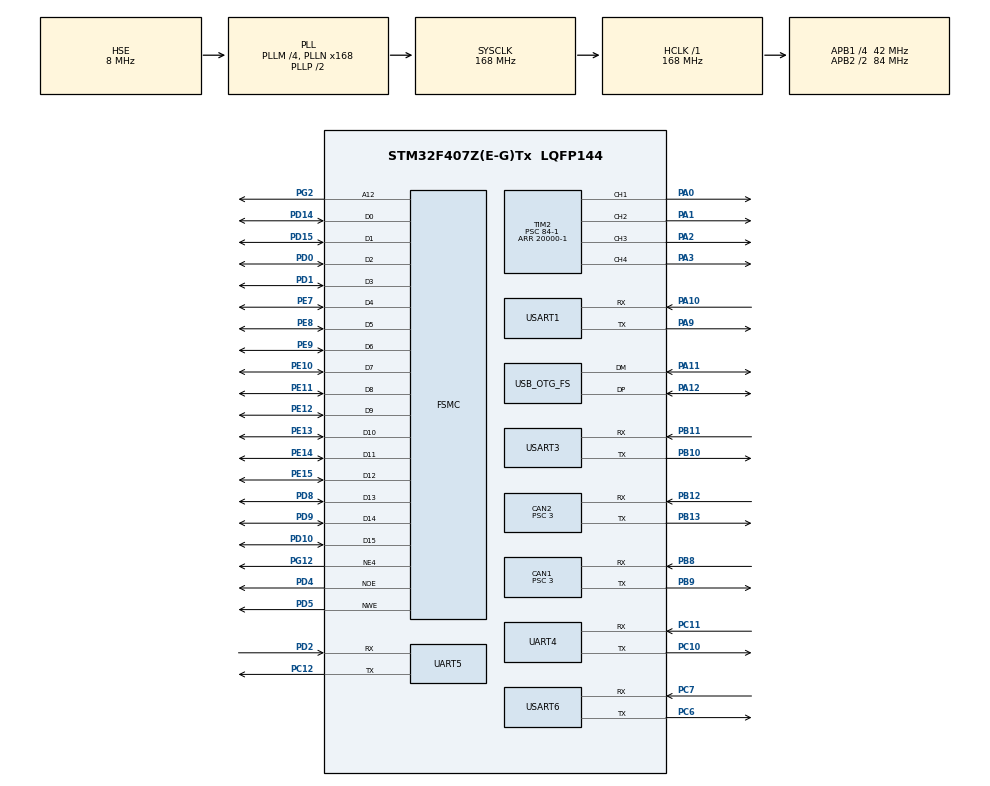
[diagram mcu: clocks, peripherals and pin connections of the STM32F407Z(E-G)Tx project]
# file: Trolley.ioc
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CAN1.BS1=CAN_BS1_11TQ
CAN1.BS2=CAN_BS2_2TQ
CAN1.CalculateBaudRate=1000000
CAN1.CalculateTimeBit=1000
CAN1.CalculateTimeQuantum=71.42857142857143
CAN1.Prescaler=3
CAN1.SJW=CAN_SJW_1TQ
CAN2.BS1=CAN_BS1_11TQ
CAN2.BS2=CAN_BS2_2TQ
CAN2.CalculateBaudRate=1000000
CAN2.CalculateTimeBit=1000
CAN2.CalculateTimeQuantum=71.42857142857143
CAN2.Prescaler=3
CAN2.SJW=CAN_SJW_1TQ
FREERTOS.Queues01=UartRxQueue,64,1,1,Dynamic,NULL,NULL
FREERTOS.Tasks01=defaultTask,24,128,StartDefaultTask,Default,NULL,Dynamic,NULL,NULL;HmiTask,8,512,StartHmiTask,Default,NULL,Dynamic,NULL,NULL;MotorTask,32,512,StartMotorTask,Default,NULL,Dynamic,NULL,NULL;UartTask,32,512,StartUartTask,Default,NULL,Dynamic,NULL,NULL
FREERTOS.configCHECK_FOR_STACK_OVERFLOW=2
FREERTOS.configUSE_MALLOC_FAILED_HOOK=1
FSMC.BusTurnAroundDuration4=0
FSMC.DataSetupTime4=60
FSMC.ExtendedAddressSetupTime4=9
FSMC.ExtendedBusTurnAroundDuration4=0
FSMC.ExtendedDataSetupTime4=8
FSMC.ExtendedMode4=FSMC_EXTENDED_MODE_ENABLE
Mcu.Family=STM32F4
Mcu.Name=STM32F407Z(E-G)Tx
Mcu.Package=LQFP144
NVIC.CAN1_RX0_IRQn=true\:5\:0\:false\:false\:true\:true\:true\:true\:true
NVIC.CAN1_SCE_IRQn=true\:5\:0\:false\:false\:true\:true\:true\:true\:true
NVIC.CAN1_TX_IRQn=true\:5\:0\:false\:false\:true\:true\:true\:true\:true
NVIC.CAN2_RX0_IRQn=true\:5\:0\:false\:false\:true\:true\:true\:true\:true
NVIC.CAN2_SCE_IRQn=true\:5\:0\:false\:false\:true\:true\:true\:true\:true
NVIC.CAN2_TX_IRQn=true\:5\:0\:false\:false\:true\:true\:true\:true\:true
NVIC.OTG_FS_IRQn=true\:5\:0\:false\:false\:true\:true\:false\:true\:true
NVIC.PriorityGroup=NVIC_PRIORITYGROUP_4
NVIC.TIM2_IRQn=true\:5\:0\:false\:false\:true\:true\:true\:true\:true
NVIC.TIM3_IRQn=true\:5\:0\:false\:false\:true\:true\:true\:true\:true
NVIC.TIM4_IRQn=true\:5\:0\:false\:false\:true\:true\:true\:true\:true
NVIC.TIM6_DAC_IRQn=true\:15\:0\:false\:false\:true\:false\:false\:true\:true
NVIC.TIM8_TRG_COM_TIM14_IRQn=true\:5\:0\:false\:false\:true\:true\:true\:true\:true
NVIC.TimeBase=TIM6_DAC_IRQn
NVIC.TimeBaseIP=TIM6
NVIC.UART4_IRQn=true\:5\:0\:false\:false\:true\:true\:true\:true\:true
NVIC.UART5_IRQn=true\:5\:0\:false\:false\:true\:true\:true\:true\:true
NVIC.USART1_IRQn=true\:7\:0\:true\:false\:true\:true\:true\:true\:true
NVIC.USART3_IRQn=true\:5\:0\:false\:false\:true\:true\:true\:true\:true
NVIC.USART6_IRQn=true\:5\:0\:false\:false\:true\:true\:true\:true\:true
PA0-WKUP.Signal=S_TIM2_CH1_ETR
PA1.Signal=S_TIM2_CH2
PA10.Mode=Asynchronous
PA10.Signal=USART1_RX
PA11.Mode=Device_Only
PA11.Signal=USB_OTG_FS_DM
PA12.Mode=Device_Only
PA12.Signal=USB_OTG_FS_DP
PA13.Mode=Serial_Wire
PA13.Signal=SYS_JTMS-SWDIO
PA14.Mode=Serial_Wire
PA14.Signal=SYS_JTCK-SWCLK
PA2.Signal=S_TIM2_CH3
PA3.Signal=S_TIM2_CH4
PA9.Mode=Asynchronous
PA9.Signal=USART1_TX
PB10.Mode=Asynchronous
PB10.Signal=USART3_TX
PB11.Mode=Asynchronous
PB11.Signal=USART3_RX
PB12.Mode=CAN_Activate
PB12.Signal=CAN2_RX
PB13.Mode=CAN_Activate
PB13.Signal=CAN2_TX
PB8.Mode=CAN_Activate
PB8.Signal=CAN1_RX
PB9.Mode=CAN_Activate
PB9.Signal=CAN1_TX
PC10.Mode=Asynchronous
PC10.Signal=UART4_TX
PC11.Mode=Asynchronous
PC11.Signal=UART4_RX
PC12.Mode=Asynchronous
PC12.Signal=UART5_TX
PC6.Mode=Asynchronous
PC6.Signal=USART6_TX
PC7.Mode=Asynchronous
PC7.Signal=USART6_RX
PD0.Signal=FSMC_D2_DA2
PD1.Signal=FSMC_D3_DA3
PD10.Signal=FSMC_D15_DA15
PD14.Signal=FSMC_D0_DA0
PD15.Signal=FSMC_D1_DA1
PD2.Mode=Asynchronous
PD2.Signal=UART5_RX
PD4.Signal=FSMC_NOE
PD5.Signal=FSMC_NWE
PD8.Signal=FSMC_D13_DA13
PD9.Signal=FSMC_D14_DA14
PE10.Signal=FSMC_D7_DA7
PE11.Signal=FSMC_D8_DA8
PE12.Signal=FSMC_D9_DA9
PE13.Signal=FSMC_D10_DA10
PE14.Signal=FSMC_D11_DA11
PE15.Signal=FSMC_D12_DA12
PE7.Signal=FSMC_D4_DA4
PE8.Signal=FSMC_D5_DA5
PE9.Signal=FSMC_D6_DA6
PG12.Mode=NorPsramChipSelect4_4
PG12.Signal=FSMC_NE4
PG2.Signal=FSMC_A12
PH0-OSC_IN.Mode=HSE-External-Oscillator
PH0-OSC_IN.Signal=RCC_OSC_IN
PH1-OSC_OUT.Mode=HSE-External-Oscillator
PH1-OSC_OUT.Signal=RCC_OSC_OUT
ProjectManager.HeapSize=0x200
ProjectManager.StackSize=0x400
ProjectManager.TargetToolchain=MDK-ARM V5.27
RCC.48MHZClocksFreq_Value=48000000
RCC.AHBFreq_Value=168000000
RCC.APB1CLKDivider=RCC_HCLK_DIV4
RCC.APB1Freq_Value=42000000
RCC.APB1TimFreq_Value=84000000
RCC.APB2CLKDivider=RCC_HCLK_DIV2
RCC.APB2Freq_Value=84000000
RCC.APB2TimFreq_Value=168000000
RCC.CortexFreq_Value=168000000
RCC.HCLKFreq_Value=168000000
RCC.HSE_VALUE=8000000
RCC.HSI_VALUE=16000000
RCC.LSE_VALUE=32768
RCC.PLLM=4
RCC.PLLN=168
RCC.PLLQ=7
RCC.SYSCLKFreq_VALUE=168000000
RCC.SYSCLKSource=RCC_SYSCLKSOURCE_PLLCLK
RCC.VCOOutputFreq_Value=336000000
SH.FSMC_A12.0=FSMC_A12,A12_4
SH.FSMC_D0_DA0.0=FSMC_D0,16b-d4
SH.FSMC_D10_DA10.0=FSMC_D10,16b-d4
SH.FSMC_D11_DA11.0=FSMC_D11,16b-d4
SH.FSMC_D12_DA12.0=FSMC_D12,16b-d4
SH.FSMC_D13_DA13.0=FSMC_D13,16b-d4
SH.FSMC_D14_DA14.0=FSMC_D14,16b-d4
SH.FSMC_D15_DA15.0=FSMC_D15,16b-d4
SH.FSMC_D1_DA1.0=FSMC_D1,16b-d4
SH.FSMC_D2_DA2.0=FSMC_D2,16b-d4
SH.FSMC_D3_DA3.0=FSMC_D3,16b-d4
SH.FSMC_D4_DA4.0=FSMC_D4,16b-d4
SH.FSMC_D5_DA5.0=FSMC_D5,16b-d4
SH.FSMC_D6_DA6.0=FSMC_D6,16b-d4
SH.FSMC_D7_DA7.0=FSMC_D7,16b-d4
SH.FSMC_D8_DA8.0=FSMC_D8,16b-d4
SH.FSMC_D9_DA9.0=FSMC_D9,16b-d4
SH.FSMC_NOE.0=FSMC_NOE,Lcd4
SH.FSMC_NWE.0=FSMC_NWE,Lcd4
SH.S_TIM2_CH1_ETR.0=TIM2_CH1,PWM Generation1 CH1
SH.S_TIM2_CH2.0=TIM2_CH2,PWM Generation2 CH2
SH.S_TIM2_CH3.0=TIM2_CH3,PWM Generation3 CH3
SH.S_TIM2_CH4.0=TIM2_CH4,PWM Generation4 CH4
TIM14.Prescaler=83
TIM2.AutoReloadPreload=TIM_AUTORELOAD_PRELOAD_ENABLE
TIM2.Channel-PWM\ Generation1\ CH1=TIM_CHANNEL_1
TIM2.Channel-PWM\ Generation2\ CH2=TIM_CHANNEL_2
TIM2.Channel-PWM\ Generation3\ CH3=TIM_CHANNEL_3
TIM2.Channel-PWM\ Generation4\ CH4=TIM_CHANNEL_4
TIM2.Period=20000-1
TIM2.Prescaler=84-1
TIM2.Pulse-PWM\ Generation1\ CH1=1500
TIM2.Pulse-PWM\ Generation2\ CH2=1500
TIM2.Pulse-PWM\ Generation3\ CH3=1500
TIM2.Pulse-PWM\ Generation4\ CH4=1500
TIM3.Period=999
TIM3.Prescaler=83
TIM4.Period=999
TIM4.Prescaler=83
UART4.VirtualMode=Asynchronous
UART5.VirtualMode=Asynchronous
USART1.VirtualMode=VM_ASYNC
USART3.VirtualMode=VM_ASYNC
USART6.VirtualMode=VM_ASYNC
USB_DEVICE.CLASS_NAME_FS=CDC
USB_DEVICE.VirtualMode-CDC_FS=Cdc
USB_DEVICE.VirtualModeFS=Cdc_FS
USB_OTG_FS.VirtualMode=Device_Only
VP_FREERTOS_VS_CMSIS_V2.Mode=CMSIS_V2
VP_SYS_VS_tim6.Mode=TIM6
VP_TIM14_VS_ClockSourceINT.Mode=Enable_Timer
VP_TIM2_VS_ClockSourceINT.Mode=Internal
VP_TIM3_VS_ClockSourceINT.Mode=Internal
VP_TIM4_VS_ClockSourceINT.Mode=Internal
VP_USB_DEVICE_VS_USB_DEVICE_CDC_FS.Mode=CDC_FS
board=custom

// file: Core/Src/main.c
/* USER CODE BEGIN Header */
/**
  ******************************************************************************
  * @file           : main.c
  * @brief          : Main program body
  ******************************************************************************
  * @attention
  *
  * Copyright (c) 2026 STMicroelectronics.
  * All rights reserved.
  *
  * This software is licensed under terms that can be found in the LICENSE file
  * in the root directory of this software component.
  * If no LICENSE file comes with this software, it is provided AS-IS.
  *
  ******************************************************************************
  */
/* USER CODE END Header */
#include "main.h"
#include "cmsis_os.h"
#include "can.h"
#include "tim.h"
#include "usart.h"
#include "usb_device.h"
#include "gpio.h"
#include "fsmc.h"

/* USER CODE BEGIN Includes */
#include "lcd.h"
#include "mytim.h"
#include "Motor_can.h"
#include "dji_pid.h"
#include "tjc_usart_hmi.h"
#include "TJC_lcd.h"
#include "bsp_servo.h"
#include "my_usart.h"
#include "Mission.h"
#include "Emm_V5.h"
#include "X_V2_can.h"
/* USER CODE END Includes */

void SystemClock_Config(void);
void MX_FREERTOS_Init(void);

int main(void)
{

  /* MCU Configuration--------------------------------------------------------*/

  /* Reset of all peripherals, Initializes the Flash interface and the Systick. */
  HAL_Init();

  /* Configure the system clock */
  SystemClock_Config();

  /* Initialize all configured peripherals */
  MX_GPIO_Init();
  MX_CAN2_Init();
  MX_CAN1_Init();
  MX_FSMC_Init();
  MX_TIM2_Init();
  MX_TIM3_Init();
  MX_TIM4_Init();
  MX_TIM14_Init();
  MX_USART1_UART_Init();
  MX_USART3_UART_Init();
  MX_UART4_Init();
  MX_UART5_Init();
  MX_USART6_UART_Init();
  /* USER CODE BEGIN 2 */
	LCD_Init();//lcd init
  LCD_Clear(WHITE);
	Can_Filter_Init();
	Motor_PID_Init();
//	motor_pos_Init();//电机位置环初始化
	HAL_TIM_Base_Start_IT(&htim4);
  HAL_TIM_Base_Start_IT(&htim3);
	HAL_TIM_PWM_Start(&htim2, TIM_CHANNEL_1);
	HAL_TIM_PWM_Start(&htim2, TIM_CHANNEL_2);
	HAL_TIM_PWM_Start(&htim2, TIM_CHANNEL_3);
	HAL_TIM_PWM_Start(&htim2, TIM_CHANNEL_4);
  motor42_Init();//42电机初始化
	initRingBuffer();//初始化环形缓冲区
	HAL_UART_Receive_IT(&TJC_UART, RxBuffer, 1);//打开串口接收中断
	Servo_Init(270,270,270,270);
	HAL_UART_Receive_IT(&huart3, (u8 *)&rec_data3, 1);
	HAL_UART_Receive_IT(&huart4, (u8 *)&rec_data4, 1);
	HAL_UART_Receive_IT(&huart5, (u8 *)&rec_data5, 1);
	HAL_UART_Receive_IT(&huart6, (u8 *)&rec_data6, 1);
  /* USER CODE END 2 */

  /* Init scheduler */
  osKernelInitialize();  /* Call init function for freertos objects (in cmsis_os2.c) */
  MX_FREERTOS_Init();

  /* Start scheduler */
  osKernelStart();

  /* We should never get here as control is now taken by the scheduler */

  /* Infinite loop */
  while (1)
  {

  }
}

void SystemClock_Config(void)
{
  RCC_OscInitTypeDef RCC_OscInitStruct = {0};
  RCC_ClkInitTypeDef RCC_ClkInitStruct = {0};

  /** Configure the main internal regulator output voltage
  */
  __HAL_RCC_PWR_CLK_ENABLE();
  __HAL_PWR_VOLTAGESCALING_CONFIG(PWR_REGULATOR_VOLTAGE_SCALE1);

  /** Initializes the RCC Oscillators according to the specified parameters
  * in the RCC_OscInitTypeDef structure.
  */
  RCC_OscInitStruct.OscillatorType = RCC_OSCILLATORTYPE_HSE;
  RCC_OscInitStruct.HSEState = RCC_HSE_ON;
  RCC_OscInitStruct.PLL.PLLState = RCC_PLL_ON;
  RCC_OscInitStruct.PLL.PLLSource = RCC_PLLSOURCE_HSE;
  RCC_OscInitStruct.PLL.PLLM = 4;
  RCC_OscInitStruct.PLL.PLLN = 168;
  RCC_OscInitStruct.PLL.PLLP = RCC_PLLP_DIV2;
  RCC_OscInitStruct.PLL.PLLQ = 7;
  if (HAL_RCC_OscConfig(&RCC_OscInitStruct) != HAL_OK)
  {
    Error_Handler();
  }

  /** Initializes the CPU, AHB and APB buses clocks
  */
  RCC_ClkInitStruct.ClockType = RCC_CLOCKTYPE_HCLK|RCC_CLOCKTYPE_SYSCLK
                              |RCC_CLOCKTYPE_PCLK1|RCC_CLOCKTYPE_PCLK2;
  RCC_ClkInitStruct.SYSCLKSource = RCC_SYSCLKSOURCE_PLLCLK;
  RCC_ClkInitStruct.AHBCLKDivider = RCC_SYSCLK_DIV1;
  RCC_ClkInitStruct.APB1CLKDivider = RCC_HCLK_DIV4;
  RCC_ClkInitStruct.APB2CLKDivider = RCC_HCLK_DIV2;

  if (HAL_RCC_ClockConfig(&RCC_ClkInitStruct, FLASH_LATENCY_5) != HAL_OK)
  {
    Error_Handler();
  }
}

void HAL_TIM_PeriodElapsedCallback(TIM_HandleTypeDef *htim)
{
  if (htim->Instance == TIM6)
  {
    HAL_IncTick();
  }
  /* USER CODE BEGIN Callback 1 */
  My_TIM_PeriodElapsedCallback(htim);
  /* USER CODE END Callback 1 */
}

void Error_Handler(void)
{
  __disable_irq();
  while (1)
  {
  }
}

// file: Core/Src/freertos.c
/* USER CODE BEGIN Header */
/**
  ******************************************************************************
  * File Name          : freertos.c
  * Description        : Code for freertos applications
  ******************************************************************************
  * @attention
  *
  * Copyright (c) 2026 STMicroelectronics.
  * All rights reserved.
  *
  * This software is licensed under terms that can be found in the LICENSE file
  * in the root directory of this software component.
  * If no LICENSE file comes with this software, it is provided AS-IS.
  *
  ******************************************************************************
  */
/* USER CODE END Header */

#include "FreeRTOS.h"
#include "task.h"
#include "main.h"
#include "cmsis_os.h"

/* USER CODE BEGIN Includes */
#include "lcd.h"
#include "tim.h"
#include "TJC_lcd.h"
#include "bsp_servo.h"
#include "my_usart.h"
#include "Mission.h"
#include "Motor_can.h"
#include "tjc_usart_hmi.h"
/* USER CODE END Includes */

/* Definitions for defaultTask */
osThreadId_t defaultTaskHandle;
const osThreadAttr_t defaultTask_attributes = {
  .name = "defaultTask",
  .stack_size = 128 * 4,
  .priority = (osPriority_t) osPriorityNormal,
};
/* Definitions for HmiTask */
osThreadId_t HmiTaskHandle;
const osThreadAttr_t HmiTask_attributes = {
  .name = "HmiTask",
  .stack_size = 512 * 4,
  .priority = (osPriority_t) osPriorityLow,
};
/* Definitions for MotorTask */
osThreadId_t MotorTaskHandle;
const osThreadAttr_t MotorTask_attributes = {
  .name = "MotorTask",
  .stack_size = 512 * 4,
  .priority = (osPriority_t) osPriorityAboveNormal,
};
/* Definitions for UartTask */
osThreadId_t UartTaskHandle;
const osThreadAttr_t UartTask_attributes = {
  .name = "UartTask",
  .stack_size = 512 * 4,
  .priority = (osPriority_t) osPriorityAboveNormal,
};
/* Definitions for UartRxQueue */
osMessageQueueId_t UartRxQueueHandle;
const osMessageQueueAttr_t UartRxQueue_attributes = {
  .name = "UartRxQueue"
};

void StartDefaultTask(void *argument);
void StartHmiTask(void *argument);
void StartMotorTask(void *argument);
void StartUartTask(void *argument);

extern void MX_USB_DEVICE_Init(void);
void MX_FREERTOS_Init(void); /* (MISRA C 2004 rule 8.1) */

/* Hook prototypes */
void vApplicationStackOverflowHook(xTaskHandle xTask, signed char *pcTaskName);
void vApplicationMallocFailedHook(void);

/* USER CODE BEGIN 4 */
void vApplicationStackOverflowHook(xTaskHandle xTask, signed char *pcTaskName)
{
   /* Run time stack overflow checking is performed if
   configCHECK_FOR_STACK_OVERFLOW is defined to 1 or 2. This hook function is
   called if a stack overflow is detected. */
}
/* USER CODE END 4 */

/* USER CODE BEGIN 5 */
void vApplicationMallocFailedHook(void)
{
   /* vApplicationMallocFailedHook() will only be called if
   configUSE_MALLOC_FAILED_HOOK is set to 1 in FreeRTOSConfig.h. It is a hook
   function that will get called if a call to pvPortMalloc() fails.
   pvPortMalloc() is called internally by the kernel whenever a task, queue,
   timer or semaphore is created. It is also called by various parts of the
   demo application. If heap_1.c or heap_2.c are used, then the size of the
   heap available to pvPortMalloc() is defined by configTOTAL_HEAP_SIZE in
   FreeRTOSConfig.h, and the xPortGetFreeHeapSize() API function can be used
   to query the size of free heap space that remains (although it does not
   provide information on how the remaining heap might be fragmented). */
}
/* USER CODE END 5 */

void MX_FREERTOS_Init(void) {

  /* Create the queue(s) */
  /* creation of UartRxQueue */
  UartRxQueueHandle = osMessageQueueNew (64, 1, &UartRxQueue_attributes);

  /* Create the thread(s) */
  /* creation of defaultTask */
  defaultTaskHandle = osThreadNew(StartDefaultTask, NULL, &defaultTask_attributes);

  /* creation of HmiTask */
  HmiTaskHandle = osThreadNew(StartHmiTask, NULL, &HmiTask_attributes);

  /* creation of MotorTask */
  MotorTaskHandle = osThreadNew(StartMotorTask, NULL, &MotorTask_attributes);

  /* creation of UartTask */
  UartTaskHandle = osThreadNew(StartUartTask, NULL, &UartTask_attributes);

}

void StartDefaultTask(void *argument)
{
  /* init code for USB_DEVICE */
  MX_USB_DEVICE_Init();
  for(;;)
  {
    osDelay(1);
  }
}

void StartHmiTask(void *argument)
{
  /* USER CODE BEGIN StartHmiTask */
  uint32_t hmiUpdateDivider = 0;

  LCD_DisplayString(0, 100, 16, (u8 *)"123+456+789+123");
	moter2006_test(50.0f);
	moter6020_test(50.0f);
//	motor42_SetPos(1, motor42_target_angle, 60, 20, true, false);
//	motor42_SetVel(1, 0, 2000, 20, false);
  /* Infinite loop */
  for(;;)
  {
    if (hmiUpdateDivider == 0U)
    {
      TJC_LCD_TestUpdate();
      TJC_LCD_Main();
			LCD_Num(0,120,vision_values[0],3,16);
			LCD_Num(0,140,vision_values[1],3,16);
			LCD_Num(0,160,vision_values[2],3,16);
			LCD_Num(0,180,vision_values[3],3,16);
    }

//    Servo_SetAngle(&htim2, servoID, channel_select(servoID), data[servoID]);
		Servo_SetAngle(&htim2, 0, TIM_CHANNEL_1, data[0]);
    Servo_SetAngle(&htim2, 1, TIM_CHANNEL_3, data[1]);
    Servo_SetAngle(&htim2, 2, TIM_CHANNEL_4, data[2]);

		motor42_SetPos2(motor42ID, motor42_target_angle,60, 20, false);

    hmiUpdateDivider = (hmiUpdateDivider + 1U) % 5U;
    osDelay(20);
  }
  /* USER CODE END StartHmiTask */
}

void StartMotorTask(void *argument)
{
  /* USER CODE BEGIN StartMotorTask */
  /* Infinite loop */
 for (;;)
    {
				/*后续存放电机启停、模式切换、故障处理*/
				osDelay(10);
    }
  /* USER CODE END StartMotorTask */
}

void StartUartTask(void *argument)
{
  /* USER CODE BEGIN StartUartTask */
  /* Infinite loop */
  uint8_t byte;

    for (;;)
    {
        if (osMessageQueueGet(UartRxQueueHandle, &byte, NULL, osWaitForever) == osOK)
        {
            jieshou_hmi(byte);
            write1ByteToRingBuffer(byte);
        }
    }
  /* USER CODE END StartUartTask */
}
